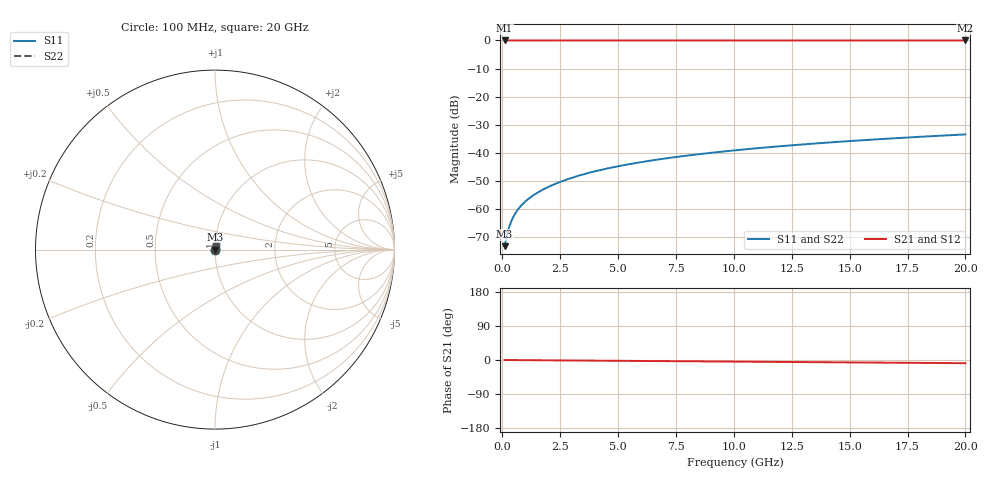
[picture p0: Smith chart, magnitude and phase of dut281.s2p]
! Touchstone file exported from HFSS 2026.1.0
!  File:  C:/ffzhzh/LocalFiles/Ansys_Project_Files/temp_train_TSV_281_1782993533_6248.aedt
!  Generated:  08:00:28 PM Jul  2, 2026
!  Design:  TSV
!  Project:  temp_train_TSV_281_1782993533_6248
! Variables:
!  h_bsmrdl = 2um
!  h_ox = 20um
!  h_rdl = 5um
!  h_sub = 83.89um
!  h_tmrdl = 5um
!  h_tsv = 83.89um
!  h_via = 3um
!  l_bsmrdl = 300um
!  l_sub = 418um
!  l_tmrdl = 200um
!  m_sub = 200um
!  pitch = 43.21um
!  r_tsv = 9um
!  s_tmrdl = 10um
!  w_bsmrdl = 18um
!  w_sub = 500um
!  w_tmrdl = 12um
!  x_tsv_center1 = 206um
!  x_tsv_center2 = 524um
!  x_tsv_center3 = 736um
!  x_tsv_center4 = 1054um
!  x_tsv_center5 = 1266um
!  x_tsv_center6 = 1584um
# GHz S MA R 50.000000
! Terminal data exported
! Port[1] = TSV1_1_T1
! Port[2] = TSV1_1_T2
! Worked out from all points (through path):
!   200 points, 100 MHz to 20 GHz, reference 50 ohm
!   highest |S21| = 0.00 dB at 100 MHz (marker M1); lowest = 0.0 dB at 20 GHz (marker M2)
!   group delay of S21, straight-line fit = 1.17 ps
!   lowest |S11| = -73.3 dB at 100 MHz (marker M3), VSWR 1.00, Z = 50 + j0.0151 ohm
!   |S11| at or under -10 dB: start of sweep to end of sweep
!   |S22| runs from -73.3 to -33.5 dB; largest |S21 - S12| = 3.3e-15
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0.1  0.0002162 44.2  0.9998 -0.0  0.9998 -0.0  0.0002162 44.2
! Gamma 0 0 0 0
! Port Impedance 50 0 50 0
0.2  0.0003423 60.8  0.9998 -0.1  0.9998 -0.1  0.0003423 60.8
0.3  0.0004797 67.3  0.9998 -0.1  0.9998 -0.1  0.0004797 67.3
0.4  0.0006167 70.4  0.9998 -0.2  0.9998 -0.2  0.0006167 70.4
0.5  0.00075 72.0  0.9998 -0.2  0.9998 -0.2  0.00075 72.0
0.6  0.0008789 73.0  0.9997 -0.3  0.9997 -0.3  0.0008789 73.0
0.7  0.001004 73.7  0.9997 -0.3  0.9997 -0.3  0.001004 73.7
0.8  0.001125 74.2  0.9997 -0.4  0.9997 -0.4  0.001125 74.2
1  0.001359 75.1  0.9997 -0.4  0.9997 -0.4  0.001359 75.1
1.4  0.001809 76.6  0.9996 -0.6  0.9996 -0.6  0.001809 76.6
1.7  0.002141 77.5  0.9996 -0.7  0.9996 -0.7  0.002141 77.5
2  0.002472 78.2  0.9995 -0.9  0.9995 -0.9  0.002472 78.2
2.7  0.003241 79.4  0.9995 -1.2  0.9995 -1.2  0.003241 79.4
3.5  0.004116 80.2  0.9994 -1.5  0.9994 -1.5  0.004116 80.2
4.2  0.004875 80.5  0.9993 -1.8  0.9993 -1.8  0.004875 80.5
5  0.005735 80.7  0.9993 -2.1  0.9993 -2.1  0.005735 80.7
6.8  0.007644 80.8  0.9991 -2.9  0.9991 -2.9  0.007644 80.8
8.3  0.009215 80.7  0.999 -3.5  0.999 -3.5  0.009215 80.7
10.1  0.01109 80.4  0.9989 -4.3  0.9989 -4.3  0.01109 80.4
13.4  0.01449 79.7  0.9987 -5.7  0.9987 -5.7  0.01449 79.7
16.7  0.01786 78.7  0.9985 -7.1  0.9985 -7.1  0.01786 78.7
20  0.02118 77.6  0.9983 -8.5  0.9983 -8.5  0.02118 77.6
